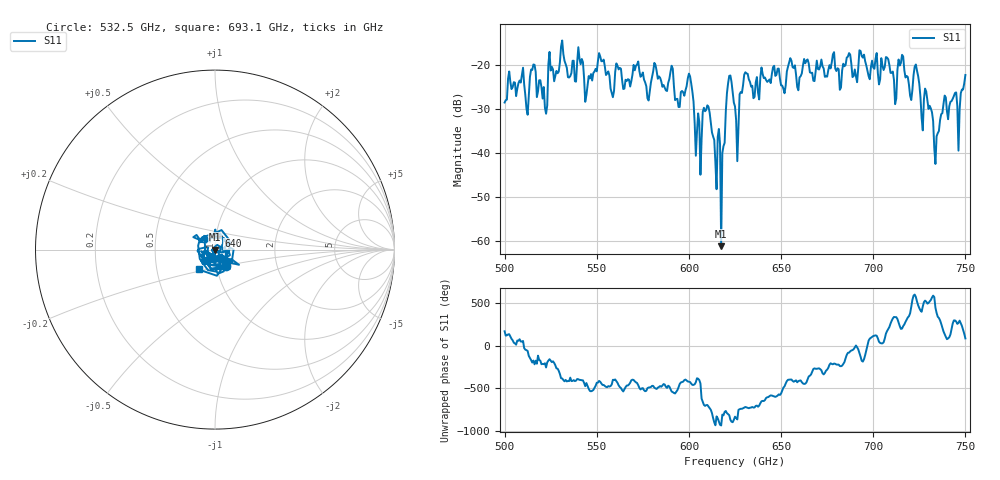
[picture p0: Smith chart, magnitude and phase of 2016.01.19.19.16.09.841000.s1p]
!Created with skrf (http://scikit-rf.org).
# GHz S RI R 50.0
!freq ReS11 ImS11
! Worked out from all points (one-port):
!   401 points, 500 GHz to 750 GHz, reference 50 ohm
!   lowest |S11| = -61.2 dB at 617.5 GHz (marker M1), VSWR 1.00, Z = 49.9 + j0.0431 ohm
!   |S11| at or under -10 dB: start of sweep to end of sweep
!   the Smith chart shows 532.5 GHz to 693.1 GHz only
!   S11 on the Smith chart (normalised r, x): 532.5 GHz: 1.11, -0.21; 640 GHz: 1.03, +0.16; 693.1 GHz: 0.81, -0.18
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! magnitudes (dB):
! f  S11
! 500 GHz  -28.6
! 508.8 GHz  -24.0
! 511.9 GHz  -30.0
! 515.6 GHz  -19.9
! 521.9 GHz  -29.8
! 531.2 GHz  -14.5
! 532.5 GHz  -19.1
! 544.4 GHz  -26.9
! 562.5 GHz  -20.7
! 590 GHz  -21.6
! 593.8 GHz  -27.7
! 600.6 GHz  -22.6
! 605 GHz  -31.0
! 610 GHz  -29.2
! 617.5 GHz  -61.2
! 621.9 GHz  -22.5
! 625 GHz  -29.5
! 630.6 GHz  -21.7
! 640 GHz  -22.1
! 656.2 GHz  -20.5
! 687.5 GHz  -17.7
! 693.1 GHz  -16.9
! 718.8 GHz  -22.8
! 723.8 GHz  -21.4
! 734.4 GHz  -36.2
! 738.1 GHz  -28.9
! 746.9 GHz  -30.1
! 750 GHz  -22.3
